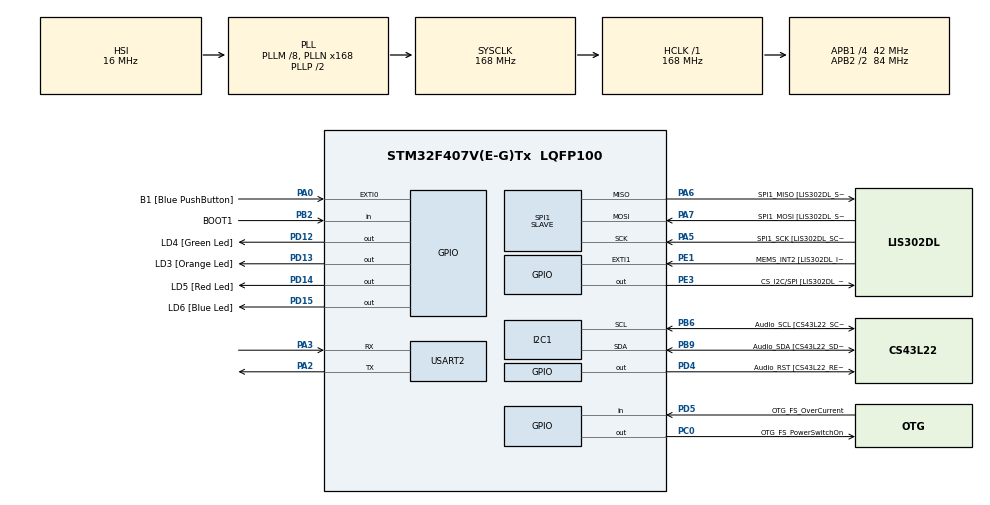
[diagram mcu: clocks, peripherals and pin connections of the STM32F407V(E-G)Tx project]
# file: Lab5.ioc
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Mcu.Family=STM32F4
Mcu.Name=STM32F407V(E-G)Tx
Mcu.Package=LQFP100
NVIC.I2C1_EV_IRQn=true\:0\:0\:false\:false\:true\:true
NVIC.PriorityGroup=NVIC_PRIORITYGROUP_0
NVIC.SPI1_IRQn=true\:0\:0\:false\:false\:true\:true
NVIC.USART2_IRQn=true\:0\:0\:false\:false\:true\:true
PA0-WKUP.GPIO_Label=B1 [Blue PushButton]
PA0-WKUP.GPIO_ModeDefaultEXTI=GPIO_MODE_IT_RISING
PA0-WKUP.Signal=GPXTI0
PA10.GPIO_Label=OTG_FS_ID
PA10.GPIO_Mode=GPIO_MODE_AF_PP
PA10.GPIO_PuPd=GPIO_NOPULL
PA10.GPIO_Speed=GPIO_SPEED_FREQ_LOW
PA10.Signal=USB_OTG_FS_ID
PA11.GPIO_Label=OTG_FS_DM
PA11.GPIO_Mode=GPIO_MODE_AF_PP
PA11.GPIO_PuPd=GPIO_NOPULL
PA11.GPIO_Speed=GPIO_SPEED_FREQ_LOW
PA11.Signal=USB_OTG_FS_DM
PA12.GPIO_Label=OTG_FS_DP
PA12.GPIO_Mode=GPIO_MODE_AF_PP
PA12.GPIO_PuPd=GPIO_NOPULL
PA12.GPIO_Speed=GPIO_SPEED_FREQ_LOW
PA12.Signal=USB_OTG_FS_DP
PA13.GPIO_Label=SWDIO
PA13.Signal=SYS_JTMS-SWDIO
PA14.GPIO_Label=SWCLK
PA14.Signal=SYS_JTCK-SWCLK
PA2.Mode=Asynchronous
PA2.Signal=USART2_TX
PA3.Mode=Asynchronous
PA3.Signal=USART2_RX
PA4.GPIO_Label=I2S3_WS [CS43L22_LRCK]
PA4.GPIO_Mode=GPIO_MODE_AF_PP
PA4.GPIO_PuPd=GPIO_NOPULL
PA4.GPIO_Speed=GPIO_SPEED_FREQ_LOW
PA4.Signal=I2S3_WS
PA5.GPIO_Label=SPI1_SCK [LIS302DL_SCL/SPC]
PA5.GPIO_Mode=GPIO_MODE_AF_PP
PA5.GPIO_PuPd=GPIO_NOPULL
PA5.GPIO_Speed=GPIO_SPEED_FREQ_LOW
PA5.Mode=Full_Duplex_Slave
PA5.Signal=SPI1_SCK
PA6.GPIO_Label=SPI1_MISO [LIS302DL_SDO]
PA6.GPIO_Mode=GPIO_MODE_AF_PP
PA6.GPIO_PuPd=GPIO_NOPULL
PA6.GPIO_Speed=GPIO_SPEED_FREQ_LOW
PA6.Mode=Full_Duplex_Slave
PA6.Signal=SPI1_MISO
PA7.GPIO_Label=SPI1_MOSI [LIS302DL_SDA/SDI/SDO]
PA7.GPIO_Mode=GPIO_MODE_AF_PP
PA7.GPIO_PuPd=GPIO_NOPULL
PA7.GPIO_Speed=GPIO_SPEED_FREQ_LOW
PA7.Mode=Full_Duplex_Slave
PA7.Signal=SPI1_MOSI
PA9.GPIO_Label=VBUS_FS
PA9.GPIO_Mode=GPIO_MODE_INPUT
PA9.GPIO_PuPd=GPIO_NOPULL
PA9.Signal=USB_OTG_FS_VBUS
PB10.GPIO_Label=CLK_IN [MP45DT02_CLK]
PB10.GPIO_Mode=GPIO_MODE_AF_PP
PB10.GPIO_PuPd=GPIO_NOPULL
PB10.GPIO_Speed=GPIO_SPEED_FREQ_LOW
PB10.Signal=I2S2_CK
PB2.GPIO_Label=BOOT1
PB2.GPIO_Mode=GPIO_MODE_INPUT
PB2.GPIO_PuPd=GPIO_NOPULL
PB2.Signal=GPIO_Input
PB3.GPIO_Label=SWO
PB3.Signal=SYS_JTDO-SWO
PB6.GPIO_Label=Audio_SCL [CS43L22_SCL]
PB6.GPIO_Mode=GPIO_MODE_AF_OD
PB6.GPIO_PuPd=GPIO_NOPULL
PB6.GPIO_Speed=GPIO_SPEED_FREQ_LOW
PB6.Mode=I2C
PB6.Signal=I2C1_SCL
PB9.GPIO_Label=Audio_SDA [CS43L22_SDA]
PB9.GPIO_Mode=GPIO_MODE_AF_OD
PB9.GPIO_PuPd=GPIO_NOPULL
PB9.GPIO_Speed=GPIO_SPEED_FREQ_LOW
PB9.Mode=I2C
PB9.Signal=I2C1_SDA
PC0.GPIO_Label=OTG_FS_PowerSwitchOn
PC0.GPIO_PuPd=GPIO_NOPULL
PC0.GPIO_Speed=GPIO_SPEED_FREQ_LOW
PC0.PinState=GPIO_PIN_SET
PC0.Signal=GPIO_Output
PC10.GPIO_Label=I2S3_SCK [CS43L22_SCLK]
PC10.GPIO_Mode=GPIO_MODE_AF_PP
PC10.GPIO_PuPd=GPIO_NOPULL
PC10.GPIO_Speed=GPIO_SPEED_FREQ_LOW
PC10.Signal=I2S3_CK
PC12.GPIO_Label=I2S3_SD [CS43L22_SDIN]
PC12.GPIO_Mode=GPIO_MODE_AF_PP
PC12.GPIO_PuPd=GPIO_NOPULL
PC12.GPIO_Speed=GPIO_SPEED_FREQ_LOW
PC12.Signal=I2S3_SD
PC14-OSC32_IN.GPIO_Label=PC14-OSC32_IN
PC14-OSC32_IN.Signal=RCC_OSC32_IN
PC15-OSC32_OUT.GPIO_Label=PC15-OSC32_OUT
PC15-OSC32_OUT.Signal=RCC_OSC32_OUT
PC3.GPIO_Label=PDM_OUT [MP45DT02_DOUT]
PC3.GPIO_Mode=GPIO_MODE_AF_PP
PC3.GPIO_PuPd=GPIO_NOPULL
PC3.GPIO_Speed=GPIO_SPEED_FREQ_LOW
PC3.Signal=I2S2_SD
PC7.GPIO_Label=I2S3_MCK [CS43L22_MCLK]
PC7.GPIO_Mode=GPIO_MODE_AF_PP
PC7.GPIO_PuPd=GPIO_NOPULL
PC7.GPIO_Speed=GPIO_SPEED_FREQ_LOW
PC7.Signal=I2S3_MCK
PD12.GPIO_Label=LD4 [Green Led]
PD12.GPIO_PuPd=GPIO_NOPULL
PD12.GPIO_Speed=GPIO_SPEED_FREQ_LOW
PD12.Signal=GPIO_Output
PD13.GPIO_Label=LD3 [Orange Led]
PD13.GPIO_PuPd=GPIO_NOPULL
PD13.GPIO_Speed=GPIO_SPEED_FREQ_LOW
PD13.Signal=GPIO_Output
PD14.GPIO_Label=LD5 [Red Led]
PD14.GPIO_PuPd=GPIO_NOPULL
PD14.GPIO_Speed=GPIO_SPEED_FREQ_LOW
PD14.Signal=GPIO_Output
PD15.GPIO_Label=LD6 [Blue Led]
PD15.GPIO_PuPd=GPIO_NOPULL
PD15.GPIO_Speed=GPIO_SPEED_FREQ_LOW
PD15.Signal=GPIO_Output
PD4.GPIO_Label=Audio_RST [CS43L22_RESET]
PD4.GPIO_PuPd=GPIO_NOPULL
PD4.GPIO_Speed=GPIO_SPEED_FREQ_LOW
PD4.Signal=GPIO_Output
PD5.GPIO_Label=OTG_FS_OverCurrent
PD5.GPIO_Mode=GPIO_MODE_INPUT
PD5.GPIO_PuPd=GPIO_NOPULL
PD5.Signal=GPIO_Input
PE1.GPIO_Label=MEMS_INT2 [LIS302DL_INT2]
PE1.GPIO_ModeDefaultEXTI=GPIO_MODE_EVT_RISING
PE1.GPIO_PuPd=GPIO_NOPULL
PE1.Signal=GPXTI1
PE3.GPIO_Label=CS_I2C/SPI [LIS302DL_CS_I2C/SPI]
PE3.GPIO_PuPd=GPIO_NOPULL
PE3.GPIO_Speed=GPIO_SPEED_FREQ_LOW
PE3.Signal=GPIO_Output
PH0-OSC_IN.GPIO_Label=PH0-OSC_IN
PH0-OSC_IN.Signal=RCC_OSC_IN
PH1-OSC_OUT.GPIO_Label=PH1-OSC_OUT
PH1-OSC_OUT.Signal=RCC_OSC_OUT
ProjectManager.HeapSize=0x200
ProjectManager.StackSize=0x400
ProjectManager.TargetToolchain=MDK-ARM V5
RCC.48MHZClocksFreq_Value=48000000
RCC.AHBFreq_Value=168000000
RCC.APB1CLKDivider=RCC_HCLK_DIV4
RCC.APB1Freq_Value=42000000
RCC.APB1TimFreq_Value=84000000
RCC.APB2CLKDivider=RCC_HCLK_DIV2
RCC.APB2Freq_Value=84000000
RCC.APB2TimFreq_Value=168000000
RCC.CortexFreq_Value=168000000
RCC.HCLKFreq_Value=168000000
RCC.HSE_VALUE=8000000
RCC.HSI_VALUE=16000000
RCC.LSE_VALUE=32768
RCC.PLLM=8
RCC.PLLN=168
RCC.PLLQ=7
RCC.SYSCLKFreq_VALUE=168000000
RCC.SYSCLKSource=RCC_SYSCLKSOURCE_PLLCLK
RCC.VCOOutputFreq_Value=336000000
SPI1.Direction=SPI_DIRECTION_2LINES
SPI1.Mode=SPI_MODE_SLAVE
SPI1.VirtualType=VM_SLAVE
USART2.VirtualMode=VM_ASYNC
board=STM32F4DISCOVERY

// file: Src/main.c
/**
  ******************************************************************************
  * @file           : main.c
  * @brief          : Main program body
  ******************************************************************************
  ** This notice applies to any and all portions of this file
  * that are not between comment pairs USER CODE BEGIN and
  * USER CODE END. Other portions of this file, whether
  * inserted by the user or by software development tools
  * are owned by their respective copyright owners.
  *
  * COPYRIGHT(c) 2018 STMicroelectronics
  *
  * Redistribution and use in source and binary forms, with or without modification,
  * are permitted provided that the following conditions are met:
  *   1. Redistributions of source code must retain the above copyright notice,
  *      this list of conditions and the following disclaimer.
  *   2. Redistributions in binary form must reproduce the above copyright notice,
  *      this list of conditions and the following disclaimer in the documentation
  *      and/or other materials provided with the distribution.
  *   3. Neither the name of STMicroelectronics nor the names of its contributors
  *      may be used to endorse or promote products derived from this software
  *      without specific prior written permission.
  *
  * THIS SOFTWARE IS PROVIDED BY THE COPYRIGHT HOLDERS AND CONTRIBUTORS "AS IS"
  * AND ANY EXPRESS OR IMPLIED WARRANTIES, INCLUDING, BUT NOT LIMITED TO, THE
  * IMPLIED WARRANTIES OF MERCHANTABILITY AND FITNESS FOR A PARTICULAR PURPOSE ARE
  * DISCLAIMED. IN NO EVENT SHALL THE COPYRIGHT HOLDER OR CONTRIBUTORS BE LIABLE
  * FOR ANY DIRECT, INDIRECT, INCIDENTAL, SPECIAL, EXEMPLARY, OR CONSEQUENTIAL
  * DAMAGES (INCLUDING, BUT NOT LIMITED TO, PROCUREMENT OF SUBSTITUTE GOODS OR
  * SERVICES; LOSS OF USE, DATA, OR PROFITS; OR BUSINESS INTERRUPTION) HOWEVER
  * CAUSED AND ON ANY THEORY OF LIABILITY, WHETHER IN CONTRACT, STRICT LIABILITY,
  * OR TORT (INCLUDING NEGLIGENCE OR OTHERWISE) ARISING IN ANY WAY OUT OF THE USE
  * OF THIS SOFTWARE, EVEN IF ADVISED OF THE POSSIBILITY OF SUCH DAMAGE.
  *
  ******************************************************************************
  */
#include "main.h"
#include "stm32f4xx_hal.h"

/* USER CODE BEGIN Includes */
#define SECTION 1
#define IS_MASTER 1

#define MASTER_ADDRESS 1
#define SALVE_ADDRESS 2
/* USER CODE END Includes */

I2C_HandleTypeDef hi2c1;

SPI_HandleTypeDef hspi1;

UART_HandleTypeDef huart2;

/* USER CODE BEGIN PV */
/* Private variables ---------------------------------------------------------*/
uint8_t buffer[2] = "";
/* USER CODE END PV */

void SystemClock_Config(void);
static void MX_GPIO_Init(void);
static void MX_USART2_UART_Init(void);
static void MX_SPI1_Init(void);
static void MX_I2C1_Init(void);

/* USER CODE BEGIN PFP */
/* Private function prototypes -----------------------------------------------*/
#if IS_MASTER == 1
void HAL_GPIO_EXTI_Callback(uint16_t GPIO_Pin)
{
	if (GPIO_Pin == GPIO_PIN_0)
	{
		buffer[0] = 'a';
		#if SECTION == 1
			HAL_UART_Transmit(&huart2, &buffer[0], 1, 1000);
		#elif SECTION == 2
			HAL_SPI_Transmit(&hspi1, &buffer[0], 1, 1000);
		#elif SECTION == 3
			HAL_I2C_Master_Transmit(&hi2c1, SALVE_ADDRESS, &buffer[0], 1, 1000);
		#endif
		int i = 0;
		// Debouncing
		for(;i<16800000;i++);
	}
}
#endif

void pinMode_PULLDOWN(GPIO_TypeDef * base, uint16_t pin) {
	GPIO_InitTypeDef GPIO_InitStruct;
	GPIO_InitStruct.Pin = pin;
  GPIO_InitStruct.Mode = GPIO_MODE_AF_PP;
  GPIO_InitStruct.Pull = GPIO_NOPULL;
  GPIO_InitStruct.Speed = GPIO_SPEED_FREQ_LOW;
  GPIO_InitStruct.Alternate = GPIO_AF10_OTG_FS;
  HAL_GPIO_Init(base, &GPIO_InitStruct);
}
/* USER CODE END PFP */

int main(void)
{

  /* MCU Configuration----------------------------------------------------------*/

  /* Reset of all peripherals, Initializes the Flash interface and the Systick. */
  HAL_Init();

  /* Configure the system clock */
  SystemClock_Config();

  /* Initialize all configured peripherals */
  MX_GPIO_Init();
  MX_USART2_UART_Init();
  MX_SPI1_Init();
  MX_I2C1_Init();
  /* USER CODE BEGIN 2 */
	#if SECTION == 2
	#if IS_MASTER == 1
  /* SPI1 parameter configuration*/
  hspi1.Init.Mode = SPI_MODE_MASTER;
  hspi1.Init.BaudRatePrescaler = SPI_BAUDRATEPRESCALER_256;
	#else
	/* SPI1 parameter configuration*/
  hspi1.Init.Mode = SPI_MODE_SLAVE;
	#endif
	if (HAL_SPI_Init(&hspi1) != HAL_OK)
  {
    _Error_Handler(__FILE__, __LINE__);
  }
	#elif SECTION == 3
	#if IS_MASTER == 1
	hi2c1.Init.OwnAddress1 = MASTER_ADDRESS;
	#else
	pinMode_PULLDOWN(GPIOB, GPIO_PIN_6);
	pinMode_PULLDOWN(GPIOB, GPIO_PIN_9);
	hi2c1.Init.OwnAddress1 = SALVE_ADDRESS;
	#endif
	if (HAL_I2C_Init(&hi2c1) != HAL_OK)
  {
    _Error_Handler(__FILE__, __LINE__);
  }
	#endif
  /* USER CODE END 2 */

  /* Infinite loop */
  /* USER CODE BEGIN WHILE */
  while (1)
  {
		#if IS_MASTER == 0
		#if SECTION == 2
		if(HAL_SPI_Receive(&hspi1, &buffer[0], 1, 1000) == HAL_OK)
		#elif SECTION == 3
		if (HAL_I2C_Slave_Receive(&hi2c1, &buffer[0], 1, 1000) == HAL_OK)
		#else
		if (HAL_UART_Receive(&huart2, &buffer[0], 1, 1000) == HAL_OK)
		#endif
		{
			if (buffer[0] == 'a')
			{
				HAL_GPIO_TogglePin(LD5_GPIO_Port, LD5_Pin);
				buffer[0] = '\n';
			}
		}
		#endif
  /* USER CODE END WHILE */

  }

}

void SystemClock_Config(void)
{

  RCC_OscInitTypeDef RCC_OscInitStruct;
  RCC_ClkInitTypeDef RCC_ClkInitStruct;

    /**Configure the main internal regulator output voltage
    */
  __HAL_RCC_PWR_CLK_ENABLE();

  __HAL_PWR_VOLTAGESCALING_CONFIG(PWR_REGULATOR_VOLTAGE_SCALE1);

    /**Initializes the CPU, AHB and APB busses clocks
    */
  RCC_OscInitStruct.OscillatorType = RCC_OSCILLATORTYPE_HSI;
  RCC_OscInitStruct.HSIState = RCC_HSI_ON;
  RCC_OscInitStruct.HSICalibrationValue = 16;
  RCC_OscInitStruct.PLL.PLLState = RCC_PLL_ON;
  RCC_OscInitStruct.PLL.PLLSource = RCC_PLLSOURCE_HSI;
  RCC_OscInitStruct.PLL.PLLM = 8;
  RCC_OscInitStruct.PLL.PLLN = 168;
  RCC_OscInitStruct.PLL.PLLP = RCC_PLLP_DIV2;
  RCC_OscInitStruct.PLL.PLLQ = 7;
  if (HAL_RCC_OscConfig(&RCC_OscInitStruct) != HAL_OK)
  {
    _Error_Handler(__FILE__, __LINE__);
  }

    /**Initializes the CPU, AHB and APB busses clocks
    */
  RCC_ClkInitStruct.ClockType = RCC_CLOCKTYPE_HCLK|RCC_CLOCKTYPE_SYSCLK
                              |RCC_CLOCKTYPE_PCLK1|RCC_CLOCKTYPE_PCLK2;
  RCC_ClkInitStruct.SYSCLKSource = RCC_SYSCLKSOURCE_PLLCLK;
  RCC_ClkInitStruct.AHBCLKDivider = RCC_SYSCLK_DIV1;
  RCC_ClkInitStruct.APB1CLKDivider = RCC_HCLK_DIV4;
  RCC_ClkInitStruct.APB2CLKDivider = RCC_HCLK_DIV2;

  if (HAL_RCC_ClockConfig(&RCC_ClkInitStruct, FLASH_LATENCY_5) != HAL_OK)
  {
    _Error_Handler(__FILE__, __LINE__);
  }

    /**Configure the Systick interrupt time
    */
  HAL_SYSTICK_Config(HAL_RCC_GetHCLKFreq()/1000);

    /**Configure the Systick
    */
  HAL_SYSTICK_CLKSourceConfig(SYSTICK_CLKSOURCE_HCLK);

  /* SysTick_IRQn interrupt configuration */
  HAL_NVIC_SetPriority(SysTick_IRQn, 0, 0);
}

/* I2C1 init function */
static void MX_I2C1_Init(void)
{

  hi2c1.Instance = I2C1;
  hi2c1.Init.ClockSpeed = 100000;
  hi2c1.Init.DutyCycle = I2C_DUTYCYCLE_2;
  hi2c1.Init.OwnAddress1 = 0;
  hi2c1.Init.AddressingMode = I2C_ADDRESSINGMODE_7BIT;
  hi2c1.Init.DualAddressMode = I2C_DUALADDRESS_DISABLE;
  hi2c1.Init.OwnAddress2 = 0;
  hi2c1.Init.GeneralCallMode = I2C_GENERALCALL_DISABLE;
  hi2c1.Init.NoStretchMode = I2C_NOSTRETCH_DISABLE;
  if (HAL_I2C_Init(&hi2c1) != HAL_OK)
  {
    _Error_Handler(__FILE__, __LINE__);
  }

}

/* SPI1 init function */
static void MX_SPI1_Init(void)
{

  /* SPI1 parameter configuration*/
  hspi1.Instance = SPI1;
  hspi1.Init.Mode = SPI_MODE_SLAVE;
  hspi1.Init.Direction = SPI_DIRECTION_2LINES;
  hspi1.Init.DataSize = SPI_DATASIZE_8BIT;
  hspi1.Init.CLKPolarity = SPI_POLARITY_LOW;
  hspi1.Init.CLKPhase = SPI_PHASE_1EDGE;
  hspi1.Init.NSS = SPI_NSS_SOFT;
  hspi1.Init.FirstBit = SPI_FIRSTBIT_MSB;
  hspi1.Init.TIMode = SPI_TIMODE_DISABLE;
  hspi1.Init.CRCCalculation = SPI_CRCCALCULATION_DISABLE;
  hspi1.Init.CRCPolynomial = 10;
  if (HAL_SPI_Init(&hspi1) != HAL_OK)
  {
    _Error_Handler(__FILE__, __LINE__);
  }

}

/* USART2 init function */
static void MX_USART2_UART_Init(void)
{

  huart2.Instance = USART2;
  huart2.Init.BaudRate = 115200;
  huart2.Init.WordLength = UART_WORDLENGTH_8B;
  huart2.Init.StopBits = UART_STOPBITS_1;
  huart2.Init.Parity = UART_PARITY_NONE;
  huart2.Init.Mode = UART_MODE_TX_RX;
  huart2.Init.HwFlowCtl = UART_HWCONTROL_NONE;
  huart2.Init.OverSampling = UART_OVERSAMPLING_16;
  if (HAL_UART_Init(&huart2) != HAL_OK)
  {
    _Error_Handler(__FILE__, __LINE__);
  }

}

/** Configure pins as
        * Analog
        * Input
        * Output
        * EVENT_OUT
        * EXTI
     PC3   ------> I2S2_SD
     PA4   ------> I2S3_WS
     PB10   ------> I2S2_CK
     PC7   ------> I2S3_MCK
     PA9   ------> USB_OTG_FS_VBUS
     PA10   ------> USB_OTG_FS_ID
     PA11   ------> USB_OTG_FS_DM
     PA12   ------> USB_OTG_FS_DP
     PC10   ------> I2S3_CK
     PC12   ------> I2S3_SD
*/
static void MX_GPIO_Init(void)
{

  GPIO_InitTypeDef GPIO_InitStruct;

  /* GPIO Ports Clock Enable */
  __HAL_RCC_GPIOE_CLK_ENABLE();
  __HAL_RCC_GPIOC_CLK_ENABLE();
  __HAL_RCC_GPIOH_CLK_ENABLE();
  __HAL_RCC_GPIOA_CLK_ENABLE();
  __HAL_RCC_GPIOB_CLK_ENABLE();
  __HAL_RCC_GPIOD_CLK_ENABLE();

  /*Configure GPIO pin Output Level */
  HAL_GPIO_WritePin(CS_I2C_SPI_GPIO_Port, CS_I2C_SPI_Pin, GPIO_PIN_RESET);

  /*Configure GPIO pin Output Level */
  HAL_GPIO_WritePin(OTG_FS_PowerSwitchOn_GPIO_Port, OTG_FS_PowerSwitchOn_Pin, GPIO_PIN_SET);

  /*Configure GPIO pin Output Level */
  HAL_GPIO_WritePin(GPIOD, LD4_Pin|LD3_Pin|LD5_Pin|LD6_Pin
                          |Audio_RST_Pin, GPIO_PIN_RESET);

  /*Configure GPIO pin : CS_I2C_SPI_Pin */
  GPIO_InitStruct.Pin = CS_I2C_SPI_Pin;
  GPIO_InitStruct.Mode = GPIO_MODE_OUTPUT_PP;
  GPIO_InitStruct.Pull = GPIO_NOPULL;
  GPIO_InitStruct.Speed = GPIO_SPEED_FREQ_LOW;
  HAL_GPIO_Init(CS_I2C_SPI_GPIO_Port, &GPIO_InitStruct);

  /*Configure GPIO pin : OTG_FS_PowerSwitchOn_Pin */
  GPIO_InitStruct.Pin = OTG_FS_PowerSwitchOn_Pin;
  GPIO_InitStruct.Mode = GPIO_MODE_OUTPUT_PP;
  GPIO_InitStruct.Pull = GPIO_NOPULL;
  GPIO_InitStruct.Speed = GPIO_SPEED_FREQ_LOW;
  HAL_GPIO_Init(OTG_FS_PowerSwitchOn_GPIO_Port, &GPIO_InitStruct);

  /*Configure GPIO pin : PDM_OUT_Pin */
  GPIO_InitStruct.Pin = PDM_OUT_Pin;
  GPIO_InitStruct.Mode = GPIO_MODE_AF_PP;
  GPIO_InitStruct.Pull = GPIO_NOPULL;
  GPIO_InitStruct.Speed = GPIO_SPEED_FREQ_LOW;
  GPIO_InitStruct.Alternate = GPIO_AF5_SPI2;
  HAL_GPIO_Init(PDM_OUT_GPIO_Port, &GPIO_InitStruct);

  /*Configure GPIO pin : B1_Pin */
  GPIO_InitStruct.Pin = B1_Pin;
  GPIO_InitStruct.Mode = GPIO_MODE_IT_RISING;
  GPIO_InitStruct.Pull = GPIO_NOPULL;
  HAL_GPIO_Init(B1_GPIO_Port, &GPIO_InitStruct);

  /*Configure GPIO pin : I2S3_WS_Pin */
  GPIO_InitStruct.Pin = I2S3_WS_Pin;
  GPIO_InitStruct.Mode = GPIO_MODE_AF_PP;
  GPIO_InitStruct.Pull = GPIO_NOPULL;
  GPIO_InitStruct.Speed = GPIO_SPEED_FREQ_LOW;
  GPIO_InitStruct.Alternate = GPIO_AF6_SPI3;
  HAL_GPIO_Init(I2S3_WS_GPIO_Port, &GPIO_InitStruct);

  /*Configure GPIO pin : BOOT1_Pin */
  GPIO_InitStruct.Pin = BOOT1_Pin;
  GPIO_InitStruct.Mode = GPIO_MODE_INPUT;
  GPIO_InitStruct.Pull = GPIO_NOPULL;
  HAL_GPIO_Init(BOOT1_GPIO_Port, &GPIO_InitStruct);

  /*Configure GPIO pin : CLK_IN_Pin */
  GPIO_InitStruct.Pin = CLK_IN_Pin;
  GPIO_InitStruct.Mode = GPIO_MODE_AF_PP;
  GPIO_InitStruct.Pull = GPIO_NOPULL;
  GPIO_InitStruct.Speed = GPIO_SPEED_FREQ_LOW;
  GPIO_InitStruct.Alternate = GPIO_AF5_SPI2;
  HAL_GPIO_Init(CLK_IN_GPIO_Port, &GPIO_InitStruct);

  /*Configure GPIO pins : LD4_Pin LD3_Pin LD5_Pin LD6_Pin
                           Audio_RST_Pin */
  GPIO_InitStruct.Pin = LD4_Pin|LD3_Pin|LD5_Pin|LD6_Pin
                          |Audio_RST_Pin;
  GPIO_InitStruct.Mode = GPIO_MODE_OUTPUT_PP;
  GPIO_InitStruct.Pull = GPIO_NOPULL;
  GPIO_InitStruct.Speed = GPIO_SPEED_FREQ_LOW;
  HAL_GPIO_Init(GPIOD, &GPIO_InitStruct);

  /*Configure GPIO pins : I2S3_MCK_Pin I2S3_SCK_Pin I2S3_SD_Pin */
  GPIO_InitStruct.Pin = I2S3_MCK_Pin|I2S3_SCK_Pin|I2S3_SD_Pin;
  GPIO_InitStruct.Mode = GPIO_MODE_AF_PP;
  GPIO_InitStruct.Pull = GPIO_NOPULL;
  GPIO_InitStruct.Speed = GPIO_SPEED_FREQ_LOW;
  GPIO_InitStruct.Alternate = GPIO_AF6_SPI3;
  HAL_GPIO_Init(GPIOC, &GPIO_InitStruct);

  /*Configure GPIO pin : VBUS_FS_Pin */
  GPIO_InitStruct.Pin = VBUS_FS_Pin;
  GPIO_InitStruct.Mode = GPIO_MODE_INPUT;
  GPIO_InitStruct.Pull = GPIO_NOPULL;
  HAL_GPIO_Init(VBUS_FS_GPIO_Port, &GPIO_InitStruct);

  /*Configure GPIO pins : OTG_FS_ID_Pin OTG_FS_DM_Pin OTG_FS_DP_Pin */
  GPIO_InitStruct.Pin = OTG_FS_ID_Pin|OTG_FS_DM_Pin|OTG_FS_DP_Pin;
  GPIO_InitStruct.Mode = GPIO_MODE_AF_PP;
  GPIO_InitStruct.Pull = GPIO_NOPULL;
  GPIO_InitStruct.Speed = GPIO_SPEED_FREQ_LOW;
  GPIO_InitStruct.Alternate = GPIO_AF10_OTG_FS;
  HAL_GPIO_Init(GPIOA, &GPIO_InitStruct);

  /*Configure GPIO pin : OTG_FS_OverCurrent_Pin */
  GPIO_InitStruct.Pin = OTG_FS_OverCurrent_Pin;
  GPIO_InitStruct.Mode = GPIO_MODE_INPUT;
  GPIO_InitStruct.Pull = GPIO_NOPULL;
  HAL_GPIO_Init(OTG_FS_OverCurrent_GPIO_Port, &GPIO_InitStruct);

  /*Configure GPIO pin : MEMS_INT2_Pin */
  GPIO_InitStruct.Pin = MEMS_INT2_Pin;
  GPIO_InitStruct.Mode = GPIO_MODE_EVT_RISING;
  GPIO_InitStruct.Pull = GPIO_NOPULL;
  HAL_GPIO_Init(MEMS_INT2_GPIO_Port, &GPIO_InitStruct);

}

void _Error_Handler(char *file, int line)
{
  while(1)
  {
  }
}

/************************ (C) COPYRIGHT STMicroelectronics *****END OF FILE****/
